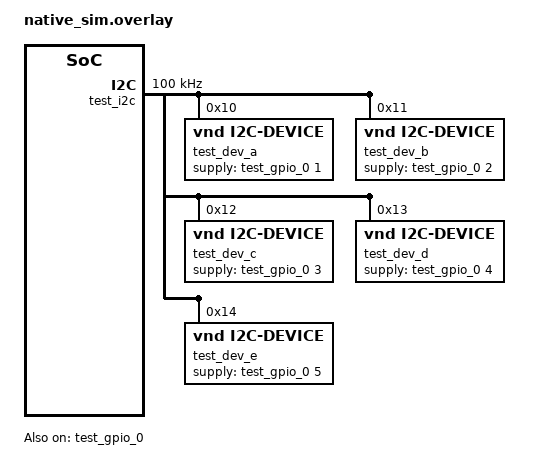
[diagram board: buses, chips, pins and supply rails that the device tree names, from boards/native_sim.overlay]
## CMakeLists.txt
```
# SPDX-License-Identifier: Apache-2.0

cmake_minimum_required(VERSION 3.28.0)
find_package(Zephyr REQUIRED HINTS $ENV{ZEPHYR_BASE})

set(output_file ${PROJECT_BINARY_DIR}/check_init_priorities_output.txt)
set(output_file_initlevels ${PROJECT_BINARY_DIR}/check_init_priorities_output_initlevels.txt)

add_custom_command(
  COMMENT "Running check_init_priorities.py"
  OUTPUT ${output_file} ${output_file_initlevels}
  DEPENDS
    ${logical_target_for_zephyr_elf}
    $<$<TARGET_EXISTS:native_runner_executable>:native_runner_executable>
  COMMAND ${PYTHON_EXECUTABLE} ${ZEPHYR_BASE}/scripts/build/check_init_priorities.py
    --elf-file=$<IF:$<TARGET_EXISTS:native_runner_executable>,${BYPRODUCT_KERNEL_EXE_NAME},${BYPRODUCT_KERNEL_ELF_NAME}>
    --verbose
    --output ${output_file}
    --always-succeed
  COMMAND ${PYTHON_EXECUTABLE} ${ZEPHYR_BASE}/scripts/build/check_init_priorities.py
    --elf-file=$<IF:$<TARGET_EXISTS:native_runner_executable>,${BYPRODUCT_KERNEL_EXE_NAME},${BYPRODUCT_KERNEL_ELF_NAME}>
    --initlevels
    --always-succeed
    > ${output_file_initlevels}
  COMMAND ${PYTHON_EXECUTABLE} ${APPLICATION_SOURCE_DIR}/validate_check_init_priorities_output.py
    ${output_file} ${output_file_initlevels}
)

add_custom_target(check_init_priorities_output ALL DEPENDS ${output_file} ${output_file_initlevels})

project(check_init_priorities)

target_sources(app PRIVATE src/main.c)
```

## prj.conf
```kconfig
CONFIG_CHECK_INIT_PRIORITIES=n
```

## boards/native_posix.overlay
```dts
/*
 * Copyright 2023 Google LLC
 *
 * SPDX-License-Identifier: Apache-2.0
 */

/ {
	test_gpio_0: gpio@ffff {
		gpio-controller;
		#gpio-cells = <0x2>;
		compatible = "vnd,gpio-device";
		status = "okay";
		reg = <0xffff 0x1000>;
	};

	test_i2c: i2c@11112222 {
		#address-cells = <1>;
		#size-cells = <0>;
		compatible = "vnd,i2c";
		status = "okay";
		reg = <0x11112222 0x1000>;
		clock-frequency = <100000>;

		test_dev_a: test-i2c-dev@10 {
			compatible = "vnd,i2c-device";
			status = "okay";
			reg = <0x10>;
			supply-gpios = <&test_gpio_0 1 0>;
		};

		test_dev_b: test-i2c-dev@11 {
			compatible = "vnd,i2c-device";
			status = "okay";
			reg = <0x11>;
			supply-gpios = <&test_gpio_0 2 0>;
		};

		test_dev_c: test-i2c-dev@12 {
			compatible = "vnd,i2c-device";
			status = "okay";
			reg = <0x12>;
			supply-gpios = <&test_gpio_0 3 0>;
		};
	};
};
```

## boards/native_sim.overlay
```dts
/*
 * Copyright 2023 Google LLC
 *
 * SPDX-License-Identifier: Apache-2.0
 */

/ {
	test_gpio_0: gpio@ffff {
		compatible = "vnd,gpio-device";
		reg = <0xffff 0x1000>;
		gpio-controller;
		#gpio-cells = <0x2>;
		status = "okay";
	};

	test_i2c: i2c@11112222 {
		compatible = "vnd,i2c";
		reg = <0x11112222 0x1000>;
		#address-cells = <1>;
		#size-cells = <0>;
		clock-frequency = <100000>;
		status = "okay";

		test_dev_a: test-i2c-dev@10 {
			compatible = "vnd,i2c-device";
			reg = <0x10>;
			supply-gpios = <&test_gpio_0 1 0>;
			status = "okay";
		};

		test_dev_b: test-i2c-dev@11 {
			compatible = "vnd,i2c-device";
			reg = <0x11>;
			supply-gpios = <&test_gpio_0 2 0>;
			status = "okay";
		};

		test_dev_c: test-i2c-dev@12 {
			compatible = "vnd,i2c-device";
			status = "okay";
			reg = <0x12>;
			supply-gpios = <&test_gpio_0 3 0>;
		};

		test_dev_d: test-i2c-dev@13 {
			compatible = "vnd,i2c-device";
			status = "okay";
			reg = <0x13>;
			supply-gpios = <&test_gpio_0 4 0>;
		};

		test_dev_e: test-i2c-dev@14 {
			compatible = "vnd,i2c-device";
			status = "okay";
			reg = <0x14>;
			supply-gpios = <&test_gpio_0 5 0>;
		};
	};
};
```

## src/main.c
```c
/*
 * Copyright 2023 Google LLC
 *
 * SPDX-License-Identifier: Apache-2.0
 */

#include <zephyr/device.h>

static int init_fn_0(const struct device *dev)
{
	return 0;
}

static int init_fn_1(const struct device *dev)
{
	return 0;
}

DEVICE_DT_DEFINE(DT_INST(0, vnd_gpio_device), init_fn_0, NULL, NULL, NULL,
		 PRE_KERNEL_1, 50, NULL);
DEVICE_DT_DEFINE(DT_INST(0, vnd_i2c), init_fn_1, NULL, NULL, NULL,
		 PRE_KERNEL_1, 50, NULL);

DEVICE_DT_DEFINE(DT_INST(0, vnd_i2c_device), NULL, NULL, NULL, NULL,
		 PRE_KERNEL_1, 49, NULL);
DEVICE_DT_DEFINE(DT_INST(1, vnd_i2c_device), NULL, NULL, NULL, NULL,
		 PRE_KERNEL_1, 50, NULL);

/* Automatically ordered device: populates the automatic-ordering slot of the
 * level, which runs after the whole manual priority range.
 */
DEVICE_DT_DEFINE_AUTO(DT_INST(2, vnd_i2c_device), NULL, NULL, NULL, NULL,
		      PRE_KERNEL, NULL);

/* Initialization function ordered after a device, which lands in the same
 * automatic-ordering slot.
 */
static int init_fn_2(void)
{
	return 0;
}

SYS_INIT_DEPENDS(init_fn_2, PRE_KERNEL, DT_INST(0, vnd_i2c));

/* Deliberate violation: the device this function is ordered after is
 * initialized at a later level, so the linker sort cannot honour the
 * dependency. The build-time check must report it.
 */
DEVICE_DT_DEFINE(DT_INST(3, vnd_i2c_device), NULL, NULL, NULL, NULL,
		 PRE_KERNEL_2, 50, NULL);

static int init_fn_3(void)
{
	return 0;
}

SYS_INIT_DEPENDS(init_fn_3, PRE_KERNEL, DT_INST(3, vnd_i2c_device));

/* Anchored service, and a device ordered after it: both land in the anchored
 * band, which the linker sorts after the ordinal-keyed entries above.
 */
#define SYS_ANCHOR_test_service SYS_ANCHOR(test_service)
#define SYS_ANCHOR_test_device  SYS_ANCHOR_AFTER(SYS_ANCHOR_test_service, test_device)

static int init_fn_4(void)
{
	return 0;
}

SYS_INIT_ANCHORED(test_service, init_fn_4, PRE_KERNEL);

DEVICE_DT_DEFINE_ANCHORED(DT_INST(4, vnd_i2c_device), NULL, NULL, NULL, NULL,
			  PRE_KERNEL, SYS_ANCHOR_test_device, NULL);

/* Deliberate violation: an anchored device cannot be depended on by ordinal,
 * as ordinal-keyed entries are sorted ahead of anchored ones.
 */
static int init_fn_5(void)
{
	return 0;
}

SYS_INIT_DEPENDS(init_fn_5, PRE_KERNEL, DT_INST(4, vnd_i2c_device));
```
